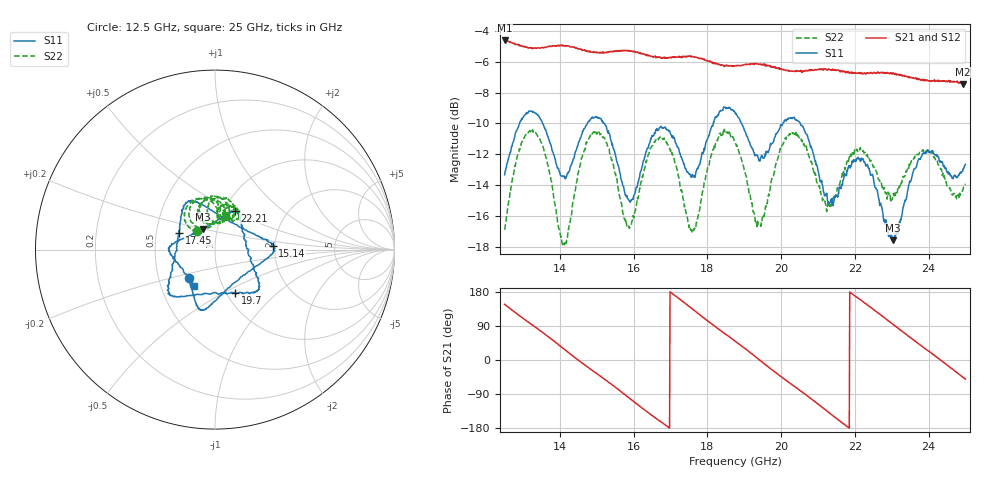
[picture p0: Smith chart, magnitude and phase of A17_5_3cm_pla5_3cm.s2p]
!Keysight Technologies N9950B: A.12.38
!Date: Monday, 17 April 2023 21:15:12
!Timezone: (UTC-06:00) Central Time (US & Canada)
!Model: N9950B
!Serial: MY61131330
!GPS Latitude:
!GPS Longitude:
!GPS TimeStamp: 0001-01-01 00:00:00Z
!GPS Seconds Since Last Read: 0
!CHECKSUM:1128820532
!Correction: S11(ON U)S21(ON U)S12(ON U)S22(ON U)
!S2P File: Measurements:S11,S21,S12,S22:
# Hz S DB R 50
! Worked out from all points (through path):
!   1001 points, 12.5 GHz to 25 GHz, reference 50 ohm
!   highest |S21| = -4.62 dB at 12.5 GHz (marker M1); lowest = -7.4 dB at 24.94 GHz (marker M2)
!   group delay of S21, straight-line fit = 204 ps
!   lowest |S11| = -17.6 dB at 23.02 GHz (marker M3), VSWR 1.31, Z = 42.8 + j10 ohm
!   |S11| at or under -10 dB: 13.53 GHz to 14.74 GHz (1.208 GHz wide, 8.55 % of centre); 15.2 GHz to 18.16 GHz (2.957 GHz wide, 17.7 % of centre); 20.52 GHz to end of sweep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
!   |S22| runs from -18.0 to -10.4 dB; largest |S21 - S12| = 0.0091
!   S11 on the Smith chart (normalised r, x): 12.5 GHz: 0.71, -0.24; 15.14 GHz: 1.94, +0.10; 17.45 GHz: 0.66, +0.13; 19.7 GHz: 1.10, -0.57; 22.21 GHz: 1.12, +0.52; 25 GHz: 0.73, -0.31
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1.25e10  -13.33 -133.0  -4.62 146.8  -4.59 146.8  -16.89 134.1
1.30125e10  -9.57 -106.8  -4.99 109.1  -4.97 109.2  -11.08 124.8
1.35375e10  -10.00 -95.3  -5.08 72.2  -5.10 72.0  -11.47 93.8
1.41125e10  -13.40 -51.4  -4.94 28.9  -4.94 28.9  -17.78 109.1
1.45875e10  -10.74 -10.5  -5.19 -6.9  -5.20 -6.8  -12.22 126.3
1.51375e10  -9.86 4.0  -5.43 -45.5  -5.45 -45.6  -10.77 96.9
1.5875e10  -14.99 56.5  -5.29 -100.0  -5.25 -100.4  -16.66 99.6
1.6675e10  -10.45 117.3  -5.68 -158.6  -5.70 -158.7  -10.96 99.2
1.745e10  -13.16 155.6  -5.64 145.6  -5.63 145.6  -15.99 80.7
1.805e10  -10.78 -148.2  -5.98 99.9  -5.96 99.8  -12.69 112.2
1.875e10  -9.31 -130.2  -6.26 50.2  -6.19 50.0  -11.20 77.4
1.93625e10  -12.08 -95.4  -6.13 4.2  -6.12 4.3  -16.34 82.4
1.97e10  -11.47 -65.2  -6.24 -22.2  -6.30 -22.0  -14.29 103.1
2.025e10  -9.65 -44.9  -6.60 -61.8  -6.61 -62.0  -10.67 84.5
2.08375e10  -11.65 -29.8  -6.56 -103.9  -6.54 -104.4  -12.55 61.8
2.1525e10  -14.73 32.0  -6.56 -156.0  -6.59 -156.2  -14.17 85.6
2.22125e10  -12.29 63.4  -6.81 154.4  -6.70 154.6  -11.78 70.5
2.2925e10  -17.34 105.6  -6.73 102.2  -6.71 102.5  -14.57 66.9
2.3025e10  -17.56 119.7  -6.72 95.2  -6.75 95.0  -14.76 71.0
2.41e10  -11.84 -178.3  -7.26 16.6  -7.29 16.3  -11.91 57.6
2.49375e10  -12.94 -123.6  -7.43 -45.8  -7.43 -45.6  -14.28 71.8
2.5e10  -12.64 -120.1  -7.42 -50.5  -7.48 -50.4  -13.91 73.1
